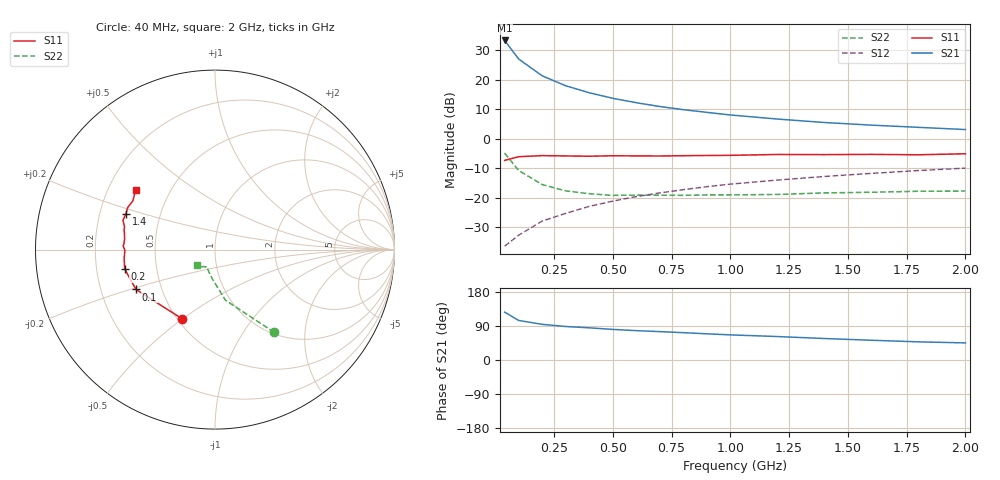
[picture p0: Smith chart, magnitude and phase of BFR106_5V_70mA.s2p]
! Filename:  BFR106D.S2P  Version:  2.0
! Philips part #: BFR106  Date: Jun 1990
! Bias condition: Vce=5V, Ic=70mA
#  MHz  S  MA  R  50
! Freq  S11  S21  S12  S22  !GUM [dB]
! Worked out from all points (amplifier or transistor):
!   16 points, 40 MHz to 2 GHz, reference 50 ohm
!   highest |S21| = 33.3 dB at 40 MHz (marker M1)
!   |S21| within 3 dB of that: start of sweep to 68.52 MHz
!   unconditionally stable (mu >= 1): 232.2 MHz to end of sweep
!   at 200 MHz: K = 0.97, MSG = 24.6 dB, |S12| = -28.0 dB
!   at 800 MHz: K = 1.08, MAG = 11.9 dB, |S12| = -17.3 dB
!   at 2 GHz: K = 1.00, MAG = 6.3 dB, |S12| = -10.0 dB
!   S11 on the Smith chart (normalised r, x): 40 MHz: 0.53, -0.50; 100 MHz: 0.36, -0.21; 200 MHz: 0.32, -0.09; 1.4 GHz: 0.31, +0.18; 2 GHz: 0.32, +0.30
40  0.427 -115.1  46.13 126.4  0.015 63.2  0.567 -54.4
100  0.493 -153.2  22.3 104.3  0.023 62.6  0.288 -78.3
200  0.515 -168.0  11.59 94.1  0.04 70.2  0.166 -94.7
300  0.508 -174.8  7.868 88.4  0.054 72.6  0.13 -104.9
400  0.502 -179.5  5.988 84.9  0.071 74.0  0.116 -110.3
500  0.512 177.7  4.82 80.7  0.087 74.2  0.109 -114.6
600  0.509 176.7  4.064 77.5  0.104 74.2  0.11 -116.2
700  0.507 173.6  3.498 74.9  0.12 73.6  0.11 -117.3
800  0.513 169.6  3.094 72.1  0.136 72.8  0.109 -117.6
900  0.517 168.4  2.786 69.1  0.153 72.5  0.111 -117.6
1000  0.52 165.9  2.516 66.3  0.169 71.2  0.111 -119.4
1200  0.538 162.3  2.146 61.9  0.198 69.8  0.113 -123.7
1400  0.535 158.1  1.874 56.7  0.228 68.0  0.12 -127.2
1600  0.54 154.1  1.692 52.1  0.257 66.7  0.123 -129.6
1800  0.532 149.3  1.552 47.9  0.287 64.5  0.128 -133.4
2000  0.553 143.1  1.424 45.1  0.316 63.1  0.129 -139.1
